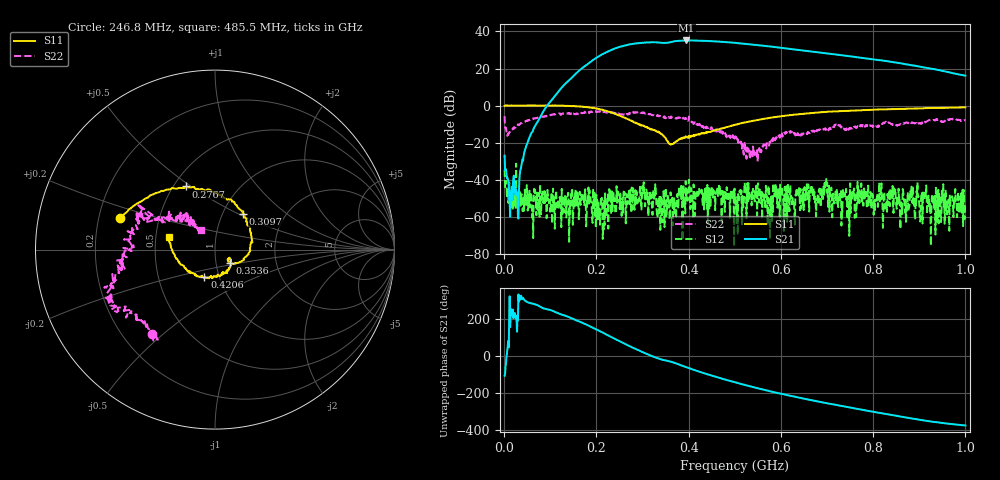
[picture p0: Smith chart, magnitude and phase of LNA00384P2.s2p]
! Created with skrf 1.9.0 (http://scikit-rf.org).
# Hz S RI R 50.0
!freq ReS11 ImS11 ReS21 ImS21 ReS12 ImS12 ReS22 ImS22
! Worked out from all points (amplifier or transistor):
!   1001 points, 1 MHz to 1 GHz, reference 50 ohm
!   highest |S21| = 35.2 dB at 394.6 MHz (marker M1)
!   |S21| within 3 dB of that: 257.3 MHz to 566.3 MHz (309 MHz wide, 75 % of centre) (the widest 1 of 2)
!   unconditionally stable (mu >= 1): 4.356 MHz to 65.86 MHz; 303 MHz to 393.6 MHz; 401 MHz to end of sweep (the widest 3 of 41)
!   at 166.8 MHz: K = 1.23, MAG = 33.0 dB, |S12| = -52.1 dB
!   at 500.5 MHz: K = 4.18, MAG = 34.4 dB, |S12| = -53.1 dB
!   at 1 GHz: K = 6.87, MAG = 23.9 dB, |S12| = -54.4 dB
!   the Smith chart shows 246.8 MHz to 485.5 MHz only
!   S11 on the Smith chart (normalised r, x): 246.8 MHz: 0.29, +0.15; 276.7 MHz: 0.58, +0.48; 309.7 MHz: 1.24, +0.53; 353.6 MHz: 1.17, -0.17; 420.6 MHz: 0.85, -0.27; 485.5 MHz: 0.59, +0.09
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1000000  0.9775 -0.00585  -0.0125 -0.0422  -0.00979 0.0155  0.3981 0.3291
1.08892e8  0.518 -0.8487  -0.8149 -1.534  0.000659 -0.00128  0.4384 -0.363
1.67833e8  -0.2311 -0.9038  -9.932 -0.5907  0.0011 -0.00368  0.0572 -0.6334
2.11789e8  -0.6793 -0.3619  -15.51 18.12  0.0016 -0.00278  -0.1776 -0.6425
2.29771e8  -0.6611 -0.0666  -9.201 29.21  -0.000756 -0.00496  -0.2635 -0.6245
2.46754e8  -0.5266 0.1779  2.811 37.04  -0.00386 -0.00265  -0.3512 -0.4693
2.76724e8  -0.1599 0.3518  30.06 34.28  -0.00314 0.00519  -0.5362 -0.3535
3.09691e8  0.1546 0.1988  49.63 10.45  0.00215 0.00193  -0.566 -0.1957
3.34666e8  0.1955 -0.0096  49.14 -11.13  -0.00247 0.00214  -0.508 -0.0492
3.53647e8  0.0851 -0.0724  44.82 -20.96  -0.000617 0.00154  -0.4826 0.0562
3.72628e8  0.0885 -0.0578  42.94 -34.76  0.000894 9.74e-05  -0.4262 0.1626
3.94606e8  0.0537 -0.128  28.87 -49.43  0.000159 0.00276  -0.3949 0.1735
4.2058e8  -0.0591 -0.1522  7.65 -56.14  0.00302 0.00221  -0.2559 0.1733
4.5055e8  -0.1827 -0.0844  -14.77 -52.95  0.00453 0.00145  -0.1534 0.1934
4.85515e8  -0.256 0.0727  -33.71 -38.39  0.00221 -0.00194  -0.0755 0.1117
5.005e8  -0.2579 0.1496  -39.12 -30.33  0.000144 -0.0022  -0.0821 0.1205
5.4046e8  -0.1813 0.343  -43 -8.864  0.00452 -0.00106  -0.052 0.0204
5.88412e8  0.022 0.4898  -35.99 11.42  0.00617 -0.00481  -0.0923 -0.0984
6.67333e8  0.3896 0.4959  -14.41 24.5  -0.000693 -0.00628  -0.1966 -0.0642
7.53247e8  0.6667 0.2919  3.824 20.67  -0.000707 -0.00435  -0.2372 -0.0324
8.34166e8  0.7921 0.0331  11.31 10.64  -0.00263 0.000823  -0.3433 -0.0472
1e9  0.7359 -0.4997  6.157 -1.79  -0.00185 0.000507  -0.3397 0.2052
